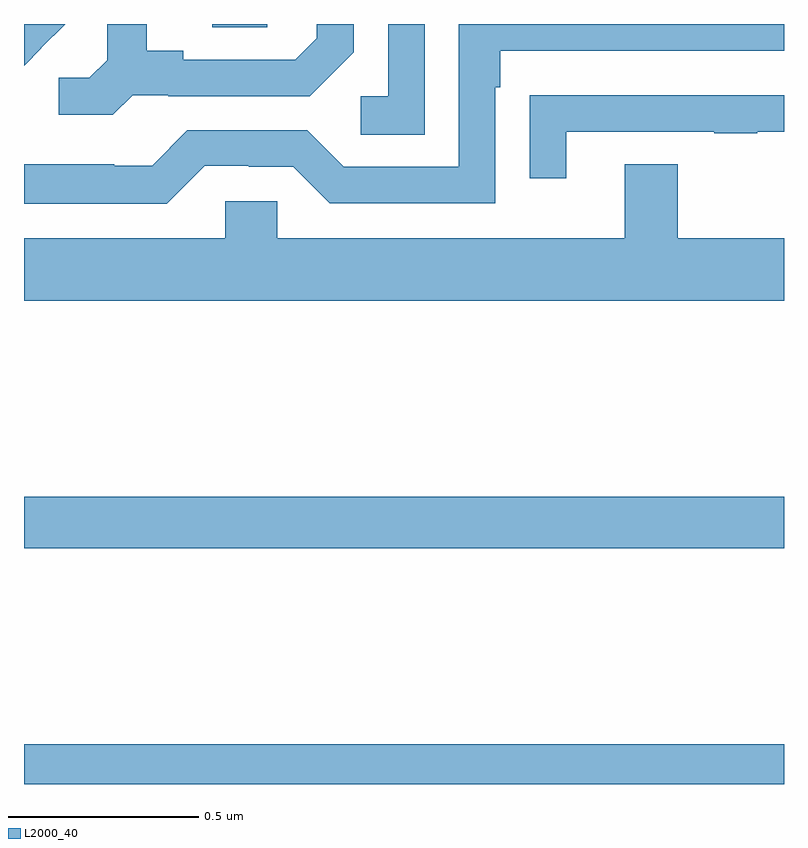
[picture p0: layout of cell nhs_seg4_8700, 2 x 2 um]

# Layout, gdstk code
import gdstk
lib = gdstk.Library(unit=1e-6, precision=1e-09)
def R(c, l, rs):  # rectangles x0, y0, x1, y1
    for r in rs: c.add(gdstk.rectangle(r[:2], r[2:], *l))
def P(c, l, *ps):  # polygons
    for p in ps: c.add(gdstk.Polygon(p, *l))
L2000_40 = (2000, 40)

nhs_seg4_8700 = lib.new_cell('nhs_seg4_8700')
R(nhs_seg4_8700, L2000_40, [(218,776.9,220,777.004), (218,777.52,220,777.656), (218.495,778.891,218.64,778.9)])
P(nhs_seg4_8700, L2000_40, [(219.054,778.9),(218.958,778.9),(218.958,778.71),(218.886,778.71),(218.886,778.609),(219.054,778.609)],
  [(218.046,778.836),(218.045,778.837),(218.108,778.9),(218,778.9),(218,778.79)],
  [(218.475,778.527),(218.591,778.527),(218.591,778.524),(218.709,778.524),(218.805,778.428),(219.24,778.428),(219.24,778.733),(219.253,778.733),(219.253,778.83),(220,778.83),(220,778.9),(219.144,778.9),(219.144,778.524),(218.841,778.524),(218.745,778.62),(218.43,778.62),(218.337,778.527),(218.237,778.527),(218.237,778.531),(218,778.531),(218,778.427),(218.375,778.427)],
  [(218.286,778.713),(218.38,778.713),(218.38,778.71),(218.752,778.71),(218.868,778.826),(218.868,778.9),(218.771,778.9),(218.771,778.863),(218.714,778.806),(218.419,778.806),(218.419,778.829),(218.323,778.829),(218.323,778.9),(218.219,778.9),(218.219,778.805),(218.172,778.758),(218.091,778.758),(218.091,778.661),(218.234,778.661)],
  [(219.427,778.617),(219.817,778.617),(219.817,778.612),(219.929,778.612),(219.929,778.617),(220,778.617),(220,778.713),(219.433,778.713),(219.433,778.712),(219.331,778.712),(219.331,778.494),(219.427,778.494)],
  [(220,778.336),(219.721,778.336),(219.721,778.531),(219.581,778.531),(219.581,778.336),(218.667,778.336),(218.667,778.434),(218.529,778.434),(218.529,778.336),(218,778.336),(218,778.172),(220,778.172)])

lib.write_gds('nhs_seg4_8700.gds')
